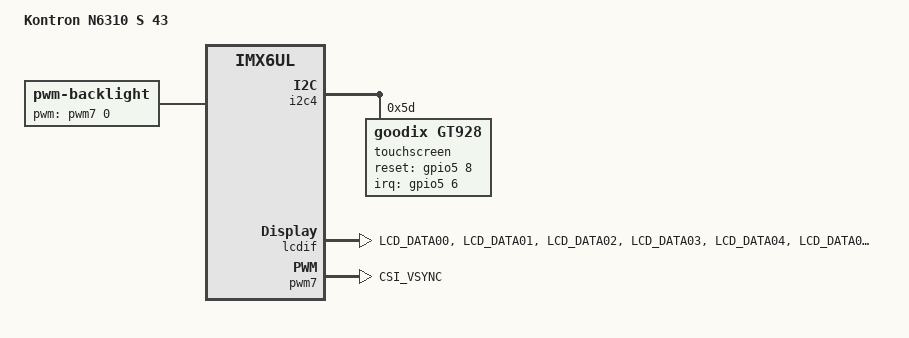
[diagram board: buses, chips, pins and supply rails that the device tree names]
// SPDX-License-Identifier: GPL-2.0
/*
 * Copyright (C) 2017 exceet electronics GmbH
 * Copyright (C) 2018 Kontron Electronics GmbH
 * Copyright (c) 2019 Krzysztof Kozlowski <krzk@kernel.org>
 */

#include "imx6ul-kontron-n6310-s.dts"

/ {
	model = "Kontron N6310 S 43";
	compatible = "kontron,imx6ul-n6310-s-43", "kontron,imx6ul-n6310-s",
		     "kontron,imx6ul-n6310-som", "fsl,imx6ul";

	backlight {
		compatible = "pwm-backlight";
		pwms = <&pwm7 0 5000000>;
		brightness-levels = <0 4 8 16 32 64 128 255>;
		default-brightness-level = <6>;
		status = "okay";
	};
};

&i2c4 {
	touchscreen@5d {
		compatible = "goodix,gt928";
		reg = <0x5d>;
		pinctrl-names = "default";
		pinctrl-0 = <&pinctrl_cap_touch>;
		interrupt-parent = <&gpio5>;
		interrupts = <6 IRQ_TYPE_LEVEL_LOW>;
		reset-gpios = <&gpio5 8 GPIO_ACTIVE_HIGH>;
		irq-gpios = <&gpio5 6 GPIO_ACTIVE_HIGH>;
	};
};

&lcdif {
	pinctrl-names = "default";
	pinctrl-0 = <&pinctrl_lcdif_dat &pinctrl_lcdif_ctrl>;
	/* Leave status disabled because of missing display panel node */
};

&pwm7 {
	pinctrl-names = "default";
	pinctrl-0 = <&pinctrl_pwm7>;
	status = "okay";
};

&iomuxc {
	pinctrl_cap_touch: captouchgrp {
		fsl,pins = <
			MX6UL_PAD_SNVS_TAMPER6__GPIO5_IO06	0x1b0b0 /* Touch Interrupt */
			MX6UL_PAD_SNVS_TAMPER7__GPIO5_IO07	0x1b0b0 /* Touch Reset */
			MX6UL_PAD_SNVS_TAMPER8__GPIO5_IO08	0x1b0b0 /* Touch Wake */
		>;
	};

	pinctrl_lcdif_ctrl: lcdifctrlgrp {
		fsl,pins = <
			MX6UL_PAD_LCD_CLK__LCDIF_CLK		0x79
			MX6UL_PAD_LCD_ENABLE__LCDIF_ENABLE	0x79
			MX6UL_PAD_LCD_HSYNC__LCDIF_HSYNC	0x79
			MX6UL_PAD_LCD_VSYNC__LCDIF_VSYNC	0x79
			MX6UL_PAD_LCD_RESET__LCDIF_RESET	0x79
		>;
	};

	pinctrl_lcdif_dat: lcdifdatgrp {
		fsl,pins = <
			MX6UL_PAD_LCD_DATA00__LCDIF_DATA00	0x79
			MX6UL_PAD_LCD_DATA01__LCDIF_DATA01	0x79
			MX6UL_PAD_LCD_DATA02__LCDIF_DATA02	0x79
			MX6UL_PAD_LCD_DATA03__LCDIF_DATA03	0x79
			MX6UL_PAD_LCD_DATA04__LCDIF_DATA04	0x79
			MX6UL_PAD_LCD_DATA05__LCDIF_DATA05	0x79
			MX6UL_PAD_LCD_DATA06__LCDIF_DATA06	0x79
			MX6UL_PAD_LCD_DATA07__LCDIF_DATA07	0x79
			MX6UL_PAD_LCD_DATA08__LCDIF_DATA08	0x79
			MX6UL_PAD_LCD_DATA09__LCDIF_DATA09	0x79
			MX6UL_PAD_LCD_DATA10__LCDIF_DATA10	0x79
			MX6UL_PAD_LCD_DATA11__LCDIF_DATA11	0x79
			MX6UL_PAD_LCD_DATA12__LCDIF_DATA12	0x79
			MX6UL_PAD_LCD_DATA13__LCDIF_DATA13	0x79
			MX6UL_PAD_LCD_DATA14__LCDIF_DATA14	0x79
			MX6UL_PAD_LCD_DATA15__LCDIF_DATA15	0x79
			MX6UL_PAD_LCD_DATA16__LCDIF_DATA16	0x79
			MX6UL_PAD_LCD_DATA17__LCDIF_DATA17	0x79
			MX6UL_PAD_LCD_DATA18__LCDIF_DATA18	0x79
			MX6UL_PAD_LCD_DATA19__LCDIF_DATA19	0x79
			MX6UL_PAD_LCD_DATA20__LCDIF_DATA20	0x79
			MX6UL_PAD_LCD_DATA21__LCDIF_DATA21	0x79
			MX6UL_PAD_LCD_DATA22__LCDIF_DATA22	0x79
			MX6UL_PAD_LCD_DATA23__LCDIF_DATA23	0x79
		>;
	};

	pinctrl_pwm7: pwm7grp {
		fsl,pins = <
			MX6UL_PAD_CSI_VSYNC__PWM7_OUT		0x110b0
		>;
	};
};
